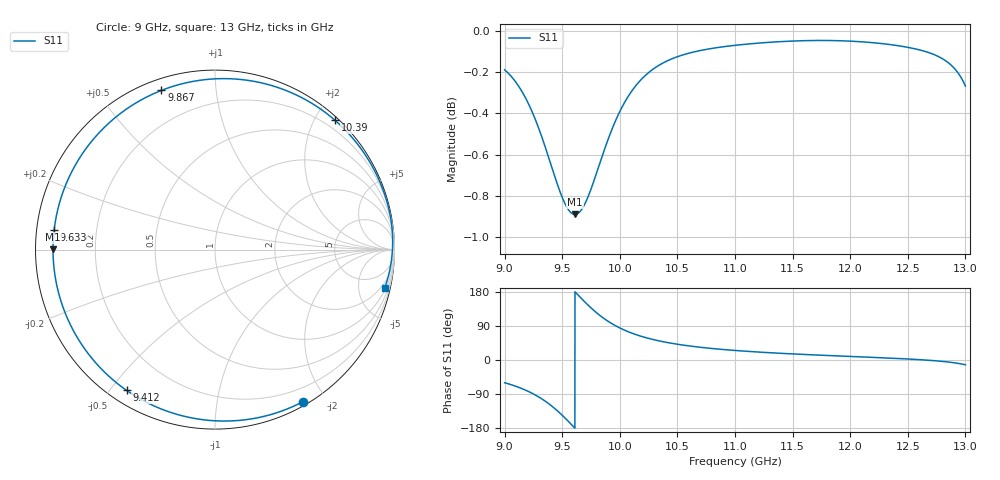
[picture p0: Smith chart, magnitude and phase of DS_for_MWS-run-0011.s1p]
! TOUCHSTONE file generated by CST DESIGN STUDIO
! Date and time: Tue Feb  4 12:50:26 2025
! Project name: C:\Work\MatlabApps\UnitCellOptimizationMatlab\CST\unitcell.cst
! Tree item: Tasks\Sweep1\SPara1\S-Parameters
! Header version: 2024
! Port assignment regex: !\s*Touchstone port\s*([0-9]+)\s*=\s*(CST MWS port|CST DES external port|CST DES block port)\s*(.+)\s* \(\"(.*)\"\)(\s*mode\s*([0-9]+))?.*
! Touchstone port assignment:
! Touchstone port 1 = CST DES external port 1 ("")
# GHz S MA R 50
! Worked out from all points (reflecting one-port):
!   4001 points, 9 GHz to 13 GHz, reference 50 ohm
!   lowest |S11| = -0.9 dB at 9.611 GHz (marker M1), VSWR 19.51, Z = 2.56 + j0.0364 ohm
!   phase of S11 starts at -60 deg and turns -313 deg over the sweep
!   S11 on the Smith chart (normalised r, x): 9 GHz: 0.04, -1.73; 9.412 GHz: 0.05, -0.55; 9.633 GHz: 0.05, +0.06; 9.867 GHz: 0.05, +0.72; 10.39 GHz: 0.05, +2.29; 13 GHz: 1.25, -8.88
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9  0.9786 -60.0
9.128  0.9691 -72.8
9.254  0.9537 -90.2
9.338  0.9399 -105.6
9.412  0.9262 -122.1
9.456  0.9182 -133.4
9.5  0.9112 -145.8
9.558  0.9046 -163.3
9.611  0.9025 179.9
9.633  0.9029 172.9
9.689  0.907 155.4
9.754  0.916 136.4
9.809  0.9256 122.0
9.867  0.9359 108.6
9.929  0.9461 96.3
10  0.956 84.6
10.086  0.9654 73.0
10.178  0.9728 63.3
10.28  0.9786 54.7
10.395  0.983 47.1
10.5  0.9858 41.6
10.719  0.9895 32.9
11  0.9921 25.2
11.5  0.9945 16.1
12  0.9944 9.4
12.5  0.991 2.7
12.8  0.9847 -3.7
13  0.9698 -12.6
